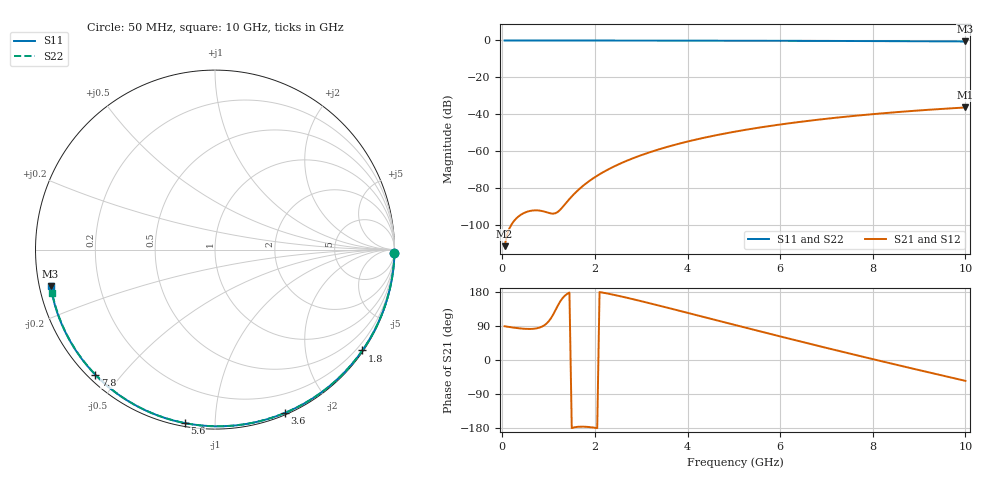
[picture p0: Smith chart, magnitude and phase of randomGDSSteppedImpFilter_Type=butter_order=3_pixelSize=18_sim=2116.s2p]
! freq	dB(S11)	phase(S11)	dB(S12)	phase(S12)
!  dB(S21)	phase(S21)	dB(S22)	phase(S22)
!S-par simulation data
#  GHz  S  DB  R 50
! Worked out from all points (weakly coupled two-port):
!   200 points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, 50 MHz to 10 GHz, reference 50 ohm
!   highest |S21| = -36.36 dB at 10 GHz (marker M1); lowest = -111.6 dB at 50 MHz (marker M2)
!   lowest |S11| = -0.6 dB at 10 GHz (marker M3), VSWR 31.41, Z = 1.61 - j5.47 ohm
!   |S11| at or under -10 dB: nowhere
!   |S22| runs from -0.6 to 0.0 dB; largest |S21 - S12| = 0
!   S11 on the Smith chart (normalised r, x): 50 MHz: open; 1.8 GHz: 0.03, -3.23; 3.6 GHz: 0.02, -1.52; 5.6 GHz: 0.02, -0.84; 7.8 GHz: 0.02, -0.43; 10 GHz: 0.03, -0.11
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0.05  -0.00 -1.0  -111.58 89.0  -111.58 89.0  -0.00 -1.0
0.45  -0.01 -8.7  -93.82 82.6  -93.82 82.6  -0.01 -8.6
0.85  -0.02 -16.4  -92.47 87.7  -92.47 87.7  -0.02 -16.2
1.65  -0.04 -31.6  -80.87 -176.2  -80.87 -176.2  -0.04 -31.2
1.7  -0.04 -32.5  -79.76 -175.9  -79.76 -175.9  -0.04 -32.1
1.75  -0.04 -33.5  -78.71 -175.9  -78.71 -175.9  -0.04 -33.0
1.8  -0.04 -34.4  -77.71 -176.2  -77.71 -176.2  -0.04 -34.0
2.1  -0.05 -40.0  -72.59 179.3  -72.59 179.3  -0.05 -39.5
2.3  -0.06 -43.6  -69.79 174.7  -69.79 174.7  -0.06 -43.1
2.5  -0.06 -47.3  -67.33 169.6  -67.33 169.6  -0.06 -46.7
2.9  -0.07 -54.5  -63.15 158.2  -63.15 158.2  -0.07 -53.8
3.4  -0.08 -63.3  -58.93 143.1  -58.93 143.1  -0.08 -62.5
3.6  -0.09 -66.8  -57.46 136.9  -57.46 136.9  -0.09 -66.0
4.3  -0.11 -78.7  -53.09 115.1  -53.09 115.1  -0.11 -77.8
5.05  -0.14 -91.1  -49.35 91.6  -49.35 91.6  -0.14 -90.0
5.6  -0.16 -99.9  -47.06 74.6  -47.06 74.6  -0.16 -98.7
6.15  -0.19 -108.5  -45.07 57.7  -45.07 57.7  -0.19 -107.2
6.7  -0.23 -117.0  -43.33 40.9  -43.33 40.9  -0.23 -115.6
7.8  -0.31 -133.7  -40.43 8.1  -40.43 8.1  -0.31 -132.1
8.35  -0.36 -142.0  -39.22 -7.9  -39.22 -7.9  -0.36 -140.2
9.2  -0.45 -155.0  -37.61 -32.4  -37.61 -32.4  -0.45 -153.0
10  -0.55 -167.5  -36.36 -55.0  -36.36 -55.0  -0.55 -165.2
